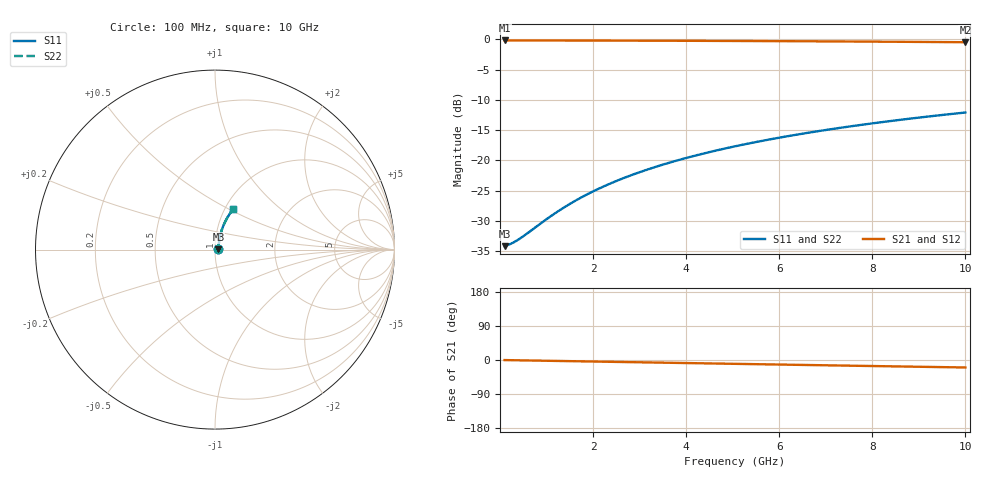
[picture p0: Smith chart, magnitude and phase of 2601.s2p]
# Hz S RI R 50.00
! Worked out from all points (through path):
!   100 points, 100 MHz to 10 GHz, reference 50 ohm
!   highest |S21| = -0.17 dB at 100 MHz (marker M1); lowest = -0.5 dB at 10 GHz (marker M2)
!   group delay of S21, straight-line fit = 5.49 ps
!   lowest |S11| = -34.2 dB at 100 MHz (marker M3), VSWR 1.04, Z = 52 + j0.262 ohm
!   |S11| at or under -10 dB: start of sweep to end of sweep
!   |S22| runs from -34.2 to -12.1 dB; largest |S21 - S12| = 0
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1e8  0.0194 0.00252  0.9806 -0.00345  0.9806 -0.00345  0.0194 0.00252
2e8  0.0195 0.00504  0.9805 -0.00691  0.9805 -0.00691  0.0195 0.00504
3e8  0.0197 0.00755  0.9803 -0.0104  0.9803 -0.0104  0.0197 0.00755
4e8  0.0198 0.0101  0.9802 -0.0138  0.9802 -0.0138  0.0198 0.0101
6e8  0.0201 0.0151  0.9799 -0.0207  0.9799 -0.0207  0.0201 0.0151
1e9  0.0208 0.0251  0.9791 -0.0345  0.9791 -0.0345  0.0208 0.0251
1.2e9  0.0213 0.0301  0.9786 -0.0414  0.9786 -0.0414  0.0213 0.0301
1.5e9  0.0221 0.0376  0.9778 -0.0516  0.9778 -0.0516  0.0221 0.0376
1.8e9  0.0231 0.0451  0.9768 -0.0619  0.9768 -0.0619  0.0231 0.0451
2.1e9  0.0242 0.0525  0.9756 -0.0722  0.9756 -0.0722  0.0242 0.0525
2.5e9  0.0259 0.0624  0.9738 -0.0858  0.9738 -0.0858  0.0259 0.0624
2.9e9  0.0278 0.0722  0.9718 -0.0993  0.9718 -0.0993  0.0278 0.0722
3.4e9  0.0307 0.0844  0.9688 -0.1162  0.9688 -0.1162  0.0307 0.0844
3.8e9  0.0332 0.094  0.9661 -0.1296  0.9661 -0.1296  0.0332 0.094
4.2e9  0.0361 0.1036  0.9631 -0.1428  0.9631 -0.1428  0.0361 0.1036
4.6e9  0.0391 0.113  0.9599 -0.156  0.9599 -0.156  0.0391 0.113
5.1e9  0.0433 0.1246  0.9555 -0.1724  0.9555 -0.1724  0.0433 0.1246
5.9e9  0.0509 0.1428  0.9476 -0.1981  0.9476 -0.1981  0.0509 0.1428
6.7e9  0.0593 0.1605  0.9386 -0.2233  0.9386 -0.2233  0.0593 0.1605
7.5e9  0.0687 0.1776  0.9288 -0.2479  0.9288 -0.2479  0.0687 0.1776
8.4e9  0.0802 0.196  0.9166 -0.2748  0.9166 -0.2748  0.0802 0.196
1e10  0.103 0.2265  0.8925 -0.3204  0.8925 -0.3204  0.103 0.2265
